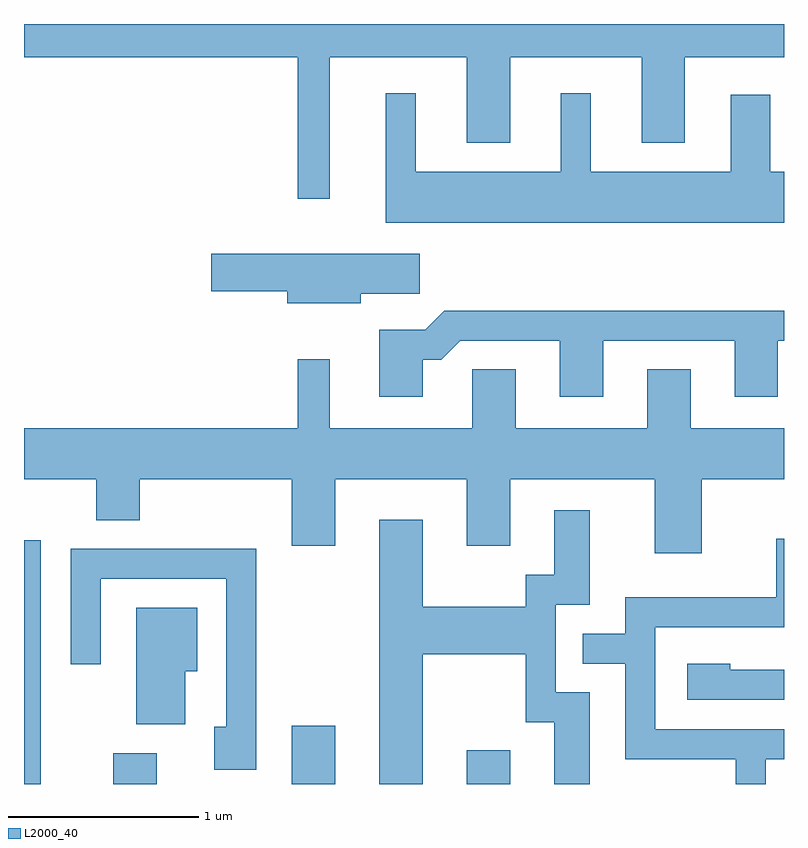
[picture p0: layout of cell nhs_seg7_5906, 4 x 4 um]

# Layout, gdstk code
import gdstk
lib = gdstk.Library(unit=1e-6, precision=1e-09)
def R(c, l, rs):  # rectangles x0, y0, x1, y1
    for r in rs: c.add(gdstk.rectangle(r[:2], r[2:], *l))
def P(c, l, *ps):  # polygons
    for p in ps: c.add(gdstk.Polygon(p, *l))
L2000_40 = (2000, 40)

nhs_seg7_5906 = lib.new_cell('nhs_seg7_5906')
R(nhs_seg7_5906, L2000_40, [(365.611,1728.252,365.699,1729.534), (366.081,1728.252,366.309,1728.414), (367.021,1728.252,367.249,1728.559), (367.941,1728.252,368.169,1728.429)])
P(nhs_seg7_5906, L2000_40, [(367.219,1732.076),(367.941,1732.076),(367.941,1731.626),(368.169,1731.626),(368.169,1732.076),(368.861,1732.076),(368.861,1731.626),(369.089,1731.626),(369.089,1732.076),(369.611,1732.076),(369.611,1732.252),(365.611,1732.252),(365.611,1732.076),(367.051,1732.076),(367.051,1731.333),(367.219,1731.333)],
  [(369.611,1731.474),(369.539,1731.474),(369.539,1731.879),(369.331,1731.879),(369.331,1731.474),(368.594,1731.474),(368.594,1731.888),(368.436,1731.888),(368.436,1731.474),(367.674,1731.474),(367.674,1731.888),(367.516,1731.888),(367.516,1731.206),(369.611,1731.206)],
  [(367.384,1730.831),(367.694,1730.831),(367.694,1731.044),(366.596,1731.044),(366.596,1730.846),(366.996,1730.846),(366.996,1730.781),(367.384,1730.781)],
  [(367.709,1730.486),(367.807,1730.486),(367.907,1730.586),(368.431,1730.586),(368.431,1730.291),(368.659,1730.291),(368.659,1730.586),(369.351,1730.586),(369.351,1730.291),(369.579,1730.291),(369.579,1730.586),(369.611,1730.586),(369.611,1730.744),(367.824,1730.744),(367.724,1730.644),(367.481,1730.644),(367.481,1730.291),(367.709,1730.291)],
  [(369.179,1729.856),(369.611,1729.856),(369.611,1730.124),(369.119,1730.124),(369.119,1730.434),(368.891,1730.434),(368.891,1730.124),(368.199,1730.124),(368.199,1730.434),(367.971,1730.434),(367.971,1730.124),(367.219,1730.124),(367.219,1730.488),(367.051,1730.488),(367.051,1730.124),(365.611,1730.124),(365.611,1729.856),(365.991,1729.856),(365.991,1729.641),(366.219,1729.641),(366.219,1729.856),(367.021,1729.856),(367.021,1729.506),(367.249,1729.506),(367.249,1729.856),(367.941,1729.856),(367.941,1729.506),(368.169,1729.506),(368.169,1729.856),(368.931,1729.856),(368.931,1729.466),(369.179,1729.466)],
  [(367.709,1728.936),(368.251,1728.936),(368.251,1728.576),(368.401,1728.576),(368.401,1728.252),(368.589,1728.252),(368.589,1728.734),(368.409,1728.734),(368.409,1729.196),(368.589,1729.196),(368.589,1729.694),(368.401,1729.694),(368.401,1729.354),(368.251,1729.354),(368.251,1729.184),(367.709,1729.184),(367.709,1729.644),(367.481,1729.644),(367.481,1728.252),(367.709,1728.252)],
  [(369.514,1728.381),(369.611,1728.381),(369.611,1728.539),(368.934,1728.539),(368.934,1729.076),(369.611,1729.076),(369.611,1729.544),(369.571,1729.544),(369.571,1729.234),(368.776,1729.234),(368.776,1729.044),(368.553,1729.044),(368.553,1728.886),(368.776,1728.886),(368.776,1728.381),(369.356,1728.381),(369.356,1728.252),(369.514,1728.252)],
  [(366.834,1729.489),(365.856,1729.489),(365.856,1728.883),(366.014,1728.883),(366.014,1729.331),(366.676,1729.331),(366.676,1728.554),(366.611,1728.554),(366.611,1728.326),(366.834,1728.326)],
  [(366.459,1728.846),(366.524,1728.846),(366.524,1729.179),(366.201,1729.179),(366.201,1728.566),(366.459,1728.566)],
  [(369.611,1728.854),(369.329,1728.854),(369.329,1728.884),(369.101,1728.884),(369.101,1728.696),(369.611,1728.696)])

lib.write_gds('nhs_seg7_5906.gds')
